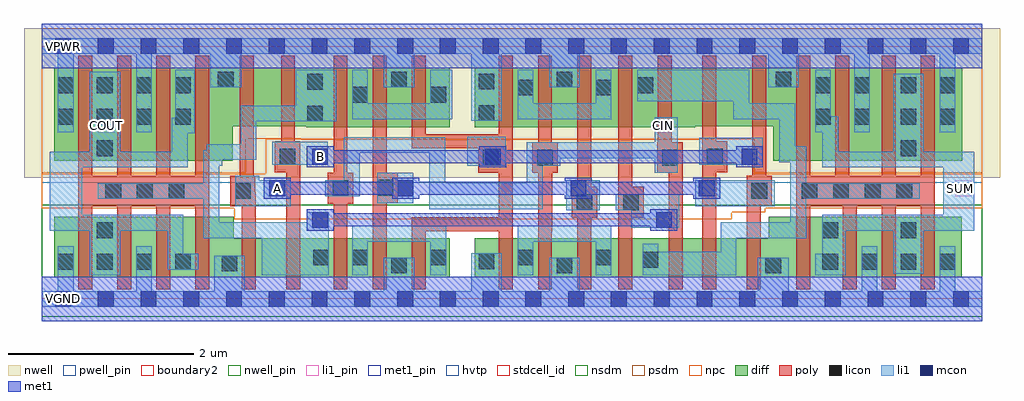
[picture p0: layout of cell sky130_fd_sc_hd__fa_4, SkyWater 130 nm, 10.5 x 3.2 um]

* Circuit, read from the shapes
.subckt sky130_fd_sc_hd__fa_4 A B CIN COUT SUM VGND VNB VPB VPWR
XM1 COUT n1 VGND VNB sky130_fd_pr__nfet_01v8 w=0.65 l=0.15 m=4
XM2 n2 A VGND VNB sky130_fd_pr__nfet_01v8 w=0.42 l=0.15
XM3 n1 B n2 VNB sky130_fd_pr__nfet_01v8 w=0.42 l=0.15
XM4 n3 CIN n1 VNB sky130_fd_pr__nfet_01v8 w=0.42 l=0.15
XM5 VGND A n3 VNB sky130_fd_pr__nfet_01v8 w=0.42 l=0.15
XM6 n3 B VGND VNB sky130_fd_pr__nfet_01v8 w=0.42 l=0.15
XM7 n4 B VGND VNB sky130_fd_pr__nfet_01v8 w=0.42 l=0.15
XM8 VGND CIN n4 VNB sky130_fd_pr__nfet_01v8 w=0.42 l=0.15
XM9 n4 A VGND VNB sky130_fd_pr__nfet_01v8 w=0.42 l=0.15
XM10 n5 n1 n4 VNB sky130_fd_pr__nfet_01v8 w=0.42 l=0.15
XM11 n6 CIN n5 VNB sky130_fd_pr__nfet_01v8 w=0.42 l=0.15
XM12 n7 B n6 VNB sky130_fd_pr__nfet_01v8 w=0.42 l=0.15
XM13 VGND A n7 VNB sky130_fd_pr__nfet_01v8 w=0.42 l=0.15
XM14 SUM n5 VGND VNB sky130_fd_pr__nfet_01v8 w=0.65 l=0.15 m=4
XM15 COUT n1 VPWR VPB sky130_fd_pr__pfet_01v8_hvt w=1 l=0.15 m=4
XM16 n8 A VPWR VPB sky130_fd_pr__pfet_01v8_hvt w=0.63 l=0.15
XM17 n1 B n8 VPB sky130_fd_pr__pfet_01v8_hvt w=0.63 l=0.15
XM18 n9 CIN n1 VPB sky130_fd_pr__pfet_01v8_hvt w=0.64 l=0.15
XM19 VPWR A n9 VPB sky130_fd_pr__pfet_01v8_hvt w=0.64 l=0.15
XM20 n9 B VPWR VPB sky130_fd_pr__pfet_01v8_hvt w=0.64 l=0.15
XM21 n10 B VPWR VPB sky130_fd_pr__pfet_01v8_hvt w=0.64 l=0.15
XM22 VPWR CIN n10 VPB sky130_fd_pr__pfet_01v8_hvt w=0.64 l=0.15
XM23 n10 A VPWR VPB sky130_fd_pr__pfet_01v8_hvt w=0.64 l=0.15
XM24 n5 n1 n10 VPB sky130_fd_pr__pfet_01v8_hvt w=0.64 l=0.15
XM25 n11 CIN n5 VPB sky130_fd_pr__pfet_01v8_hvt w=0.64 l=0.15
XM26 n12 B n11 VPB sky130_fd_pr__pfet_01v8_hvt w=0.63 l=0.15
XM27 VPWR A n12 VPB sky130_fd_pr__pfet_01v8_hvt w=0.63 l=0.15
XM28 SUM n5 VPWR VPB sky130_fd_pr__pfet_01v8_hvt w=1 l=0.15 m=4
.ends

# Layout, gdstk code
import gdstk
lib = gdstk.Library(unit=1e-6, precision=1e-09)
def R(c, l, rs):  # rectangles x0, y0, x1, y1
    for r in rs: c.add(gdstk.rectangle(r[:2], r[2:], *l))
def A(c, l, x, y, w, h, nx, ny, dx, dy):  # array of equal rectangles
    R(c, l, [(x+i*dx, y+j*dy, x+i*dx+w, y+j*dy+h) for i in range(nx) for j in range(ny)])
def P(c, l, *ps):  # polygons
    for p in ps: c.add(gdstk.Polygon(p, *l))
nwell_pin = (64, 16)
nwell = (64, 20)
diff = (65, 20)
poly = (66, 20)
licon = (66, 44)
li1_pin = (67, 16)
li1 = (67, 20)
mcon = (67, 44)
met1_pin = (68, 16)
met1 = (68, 20)
hvtp = (78, 44)
stdcell_id = (81, 4)
nsdm = (93, 44)
psdm = (94, 20)
npc = (95, 20)
pwell_pin = (122, 16)
boundary2 = (236, 0)

sky130_fd_sc_hd__fa_4 = lib.new_cell('sky130_fd_sc_hd__fa_4')
R(sky130_fd_sc_hd__fa_4, nwell_pin, [(0.15,2.635,0.32,2.805)])
R(sky130_fd_sc_hd__fa_4, nwell, [(-0.19,1.305,10.31,2.91)])
P(sky130_fd_sc_hd__fa_4, diff, [(4.39,2.485),(0.135,2.485),(0.135,1.485),(2.055,1.485),(2.055,1.855),(2.845,1.855),(2.845,1.845),(4.39,1.845)],
  [(4.39,0.655),(2.065,0.655),(2.065,0.885),(0.135,0.885),(0.135,0.235),(4.39,0.235)],
  [(9.9,0.885),(7.82,0.885),(7.82,0.655),(4.66,0.655),(4.66,0.235),(9.9,0.235)],
  [(9.905,2.485),(4.66,2.485),(4.66,1.845),(7.03,1.845),(7.03,1.855),(7.87,1.855),(7.87,1.485),(9.905,1.485)])
P(sky130_fd_sc_hd__fa_4, poly, [(1.805,2.615),(1.655,2.615),(1.655,1.325),(1.385,1.325),(1.385,2.615),(1.235,2.615),(1.235,1.325),(0.965,1.325),(0.965,2.615),(0.815,2.615),(0.815,1.325),(0.545,1.325),(0.545,2.615),(0.395,2.615),(0.395,0.105),(0.545,0.105),(0.545,0.995),(0.815,0.995),(0.815,0.105),(0.965,0.105),(0.965,0.995),(1.235,0.995),(1.235,0.105),(1.385,0.105),(1.385,0.995),(1.655,0.995),(1.655,0.105),(1.805,0.105)],
  [(2.305,1.145),(2.3,1.145),(2.3,1.325),(2.28,1.325),(2.28,2.615),(2.13,2.615),(2.13,1.325),(2.03,1.325),(2.03,0.995),(2.155,0.995),(2.155,0.105),(2.305,0.105)],
  [(2.78,1.695),(2.725,1.695),(2.725,2.615),(2.575,2.615),(2.575,1.695),(2.51,1.695),(2.51,1.365),(2.63,1.365),(2.63,0.105),(2.78,0.105)],
  [(3.35,1.355),(3.29,1.355),(3.29,2.615),(3.14,2.615),(3.14,1.355),(3.08,1.355),(3.08,1.025),(3.14,1.025),(3.14,0.105),(3.29,0.105),(3.29,1.025),(3.35,1.025)],
  [(3.83,1.36),(3.71,1.36),(3.71,2.615),(3.56,2.615),(3.56,0.105),(3.71,0.105),(3.71,1.03),(3.83,1.03)],
  [(5.07,2.615),(4.92,2.615),(4.92,1.77),(4.13,1.77),(4.13,2.615),(3.98,2.615),(3.98,1.62),(4.695,1.62),(4.695,1.355),(4.92,1.355),(4.92,0.88),(3.98,0.88),(3.98,0.105),(4.13,0.105),(4.13,0.73),(4.92,0.73),(4.92,0.105),(5.07,0.105)],
  [(5.55,1.685),(5.49,1.685),(5.49,2.615),(5.34,2.615),(5.34,1.685),(5.28,1.685),(5.28,1.355),(5.345,1.355),(5.345,0.88),(5.34,0.88),(5.34,0.105),(5.49,0.105),(5.49,0.73),(5.495,0.73),(5.495,1.355),(5.55,1.355)],
  [(5.975,1.205),(5.91,1.205),(5.91,2.615),(5.76,2.615),(5.76,1.205),(5.705,1.205),(5.705,0.875),(5.76,0.875),(5.76,0.105),(5.91,0.105),(5.91,0.875),(5.975,0.875)],
  [(6.475,1.205),(6.355,1.205),(6.355,2.615),(6.205,2.615),(6.205,0.105),(6.355,0.105),(6.355,0.875),(6.475,0.875)],
  [(6.895,1.685),(6.78,1.685),(6.78,2.615),(6.63,2.615),(6.63,1.685),(6.625,1.685),(6.625,1.355),(6.745,1.355),(6.745,0.105),(6.895,0.105)],
  [(7.375,1.695),(7.255,1.695),(7.255,2.615),(7.105,2.615),(7.105,0.105),(7.255,0.105),(7.255,1.365),(7.375,1.365)],
  [(7.855,1.325),(7.795,1.325),(7.795,2.615),(7.645,2.615),(7.645,1.325),(7.585,1.325),(7.585,0.105),(7.735,0.105),(7.735,0.995),(7.855,0.995)],
  [(9.61,2.615),(9.46,2.615),(9.46,1.325),(9.19,1.325),(9.19,2.615),(9.04,2.615),(9.04,1.325),(8.69,1.325),(8.69,2.615),(8.54,2.615),(8.54,1.325),(8.27,1.325),(8.27,2.615),(8.12,2.615),(8.12,0.105),(8.27,0.105),(8.27,0.995),(8.62,0.995),(8.62,0.105),(8.77,0.105),(8.77,0.995),(9.04,0.995),(9.04,0.105),(9.19,0.105),(9.19,0.995),(9.46,0.995),(9.46,0.105),(9.61,0.105)])
A(sky130_fd_sc_hd__fa_4, licon, 0.175, 0.315, 0.17, 0.17, 4, 2, 0.42, 1.56)
A(sky130_fd_sc_hd__fa_4, licon, 8.4, 0.315, 0.17, 0.17, 4, 1, 0.42, 0)
A(sky130_fd_sc_hd__fa_4, licon, 0.685, 1.075, 0.17, 0.17, 3, 1, 0.34, 0)
A(sky130_fd_sc_hd__fa_4, licon, 8.175, 1.075, 0.17, 0.17, 4, 1, 0.34, 0)
A(sky130_fd_sc_hd__fa_4, licon, 9.24, 1.535, 0.17, 0.17, 1, 3, 0, 0.34)
A(sky130_fd_sc_hd__fa_4, licon, 0.175, 2.215, 0.17, 0.17, 4, 1, 0.42, 0)
R(sky130_fd_sc_hd__fa_4, licon, [(3.76,0.275,3.93,0.445), (5.54,0.275,5.71,0.445), (7.785,0.275,7.955,0.445), (1.935,0.295,2.105,0.465), (4.7,0.32,4.87,0.49), (6.465,0.335,6.635,0.505), (2.92,0.36,3.09,0.53), (3.34,0.36,3.51,0.53), (4.18,0.36,4.35,0.53), (5.12,0.36,5.29,0.53), (5.96,0.36,6.13,0.53), (0.595,0.655,0.765,0.825), (8.4,0.655,8.57,0.825), (9.24,0.655,9.41,0.825), (5.755,0.955,5.925,1.125), (6.255,0.955,6.425,1.125), (2.08,1.075,2.25,1.245), (7.635,1.075,7.805,1.245), (3.13,1.105,3.3,1.275), (3.61,1.11,3.78,1.28), (4.745,1.435,4.915,1.605), (5.33,1.435,5.5,1.605), (6.675,1.435,6.845,1.605), (2.56,1.445,2.73,1.615), (7.155,1.445,7.325,1.615), (0.595,1.535,0.765,1.705), (8.32,1.875,8.49,2.045), (8.74,1.875,8.91,2.045), (9.66,1.875,9.83,2.045), (2.855,1.91,3.025,2.08), (4.7,1.915,4.87,2.085), (3.34,2.11,3.51,2.28), (4.18,2.11,4.35,2.28), (5.12,2.19,5.29,2.36), (5.96,2.19,6.13,2.36), (6.41,2.215,6.58,2.385), (8.32,2.215,8.49,2.385), (8.74,2.215,8.91,2.385), (9.66,2.215,9.83,2.385), (2.855,2.25,3.025,2.42), (4.7,2.255,4.87,2.425), (1.895,2.275,2.065,2.445), (3.76,2.275,3.93,2.445), (5.54,2.275,5.71,2.445), (7.895,2.275,8.065,2.445)])
R(sky130_fd_sc_hd__fa_4, li1_pin, [(0.15,-0.085,0.32,0.085), (2.45,1.105,2.62,1.275), (9.83,1.105,10,1.275), (2.91,1.445,3.08,1.615), (0.61,1.785,0.78,1.955), (6.61,1.785,6.78,1.955), (0.15,2.635,0.32,2.805)])
R(sky130_fd_sc_hd__fa_4, li1, [(5.645,0.955,6.005,1.275), (7.03,0.995,7.885,1.275), (3.61,1.03,4,1.36), (4.58,1.435,4.995,1.745), (2.48,1.445,3.08,1.69), (7.075,1.445,7.76,1.735)])
P(sky130_fd_sc_hd__fa_4, li1, [(1.685,0.485),(1.525,0.485),(1.525,0.905),(0.435,0.905),(0.435,1.415),(1.57,1.415),(1.57,1.78),(1.645,1.78),(1.645,2.465),(1.435,2.465),(1.435,1.95),(1.4,1.95),(1.4,1.585),(0.845,1.585),(0.845,2.445),(0.515,2.445),(0.515,1.585),(0.085,1.585),(0.085,0.735),(0.515,0.735),(0.515,0.255),(0.845,0.255),(0.845,0.735),(1.355,0.735),(1.355,0.315),(1.685,0.315)],
  [(2.68,1.275),(2.34,1.275),(2.34,1.325),(2.08,1.325),(2.08,0.995),(2.68,0.995)],
  [(3.17,2.465),(2.735,2.465),(2.735,2.08),(2.14,2.08),(2.14,1.665),(1.775,1.665),(1.775,1.6),(1.74,1.6),(1.74,1.245),(0.605,1.245),(0.605,1.075),(1.74,1.075),(1.74,0.655),(2.37,0.655),(2.37,0.255),(3.09,0.255),(3.09,0.935),(2.85,0.935),(2.85,0.825),(1.91,0.825),(1.91,1.43),(1.945,1.43),(1.945,1.495),(2.31,1.495),(2.31,1.91),(3.17,1.91)],
  [(4.35,0.785),(3.34,0.785),(3.34,0.255),(3.51,0.255),(3.51,0.615),(4.18,0.615),(4.18,0.255),(4.35,0.255)],
  [(4.415,2.465),(4.18,2.465),(4.18,2.105),(3.51,2.105),(3.51,2.465),(3.34,2.465),(3.34,1.935),(4.415,1.935)],
  [(10.12,0.085),(9.83,0.085),(9.83,0.565),(9.66,0.565),(9.66,0.085),(8.99,0.085),(8.99,0.565),(8.82,0.565),(8.82,0.085),(8.035,0.085),(8.035,0.445),(7.705,0.445),(7.705,0.085),(5.79,0.085),(5.79,0.445),(5.46,0.445),(5.46,0.085),(4.95,0.085),(4.95,0.49),(4.62,0.49),(4.62,0.085),(4.01,0.085),(4.01,0.445),(3.68,0.445),(3.68,0.085),(2.185,0.085),(2.185,0.465),(1.855,0.465),(1.855,0.085),(1.185,0.085),(1.185,0.565),(1.015,0.565),(1.015,0.085),(0.345,0.085),(0.345,0.565),(0.175,0.565),(0.175,0.085),(0,0.085),(0,-0.085),(10.12,-0.085)],
  [(10.12,2.805),(0,2.805),(0,2.635),(0.175,2.635),(0.175,1.795),(0.345,1.795),(0.345,2.635),(1.015,2.635),(1.015,1.795),(1.185,1.795),(1.185,2.635),(1.815,2.635),(1.815,2.275),(2.145,2.275),(2.145,2.635),(3.68,2.635),(3.68,2.275),(4.01,2.275),(4.01,2.635),(4.62,2.635),(4.62,1.915),(4.95,1.915),(4.95,2.635),(5.46,2.635),(5.46,2.275),(5.79,2.275),(5.79,2.635),(7.815,2.635),(7.815,2.275),(8.145,2.275),(8.145,2.635),(8.74,2.635),(8.74,1.795),(8.91,1.795),(8.91,2.635),(9.66,2.635),(9.66,1.795),(9.83,1.795),(9.83,2.635),(10.12,2.635)],
  [(6.13,2.465),(5.96,2.465),(5.96,2.105),(5.29,2.105),(5.29,2.465),(5.12,2.465),(5.12,1.935),(6.13,1.935)],
  [(6.13,0.785),(5.12,0.785),(5.12,0.255),(5.29,0.255),(5.29,0.615),(5.96,0.615),(5.96,0.255),(6.13,0.255)],
  [(6.845,1.955),(6.595,1.955),(6.595,1.685),(5.22,1.685),(5.22,1.25),(4.34,1.25),(4.34,1.74),(3.25,1.74),(3.25,1.275),(3.05,1.275),(3.05,1.105),(3.42,1.105),(3.42,1.57),(4.17,1.57),(4.17,0.965),(5.39,0.965),(5.39,1.435),(5.58,1.435),(5.58,1.515),(6.595,1.515),(6.595,1.355),(6.845,1.355)],
  [(6.86,1.125),(6.175,1.125),(6.175,0.955),(6.345,0.955),(6.345,0.765),(6.86,0.765)],
  [(9.445,1.245),(8.225,1.245),(8.225,1.64),(8.105,1.64),(8.105,2.105),(7.61,2.105),(7.61,2.465),(6.41,2.465),(6.41,2.125),(7.44,2.125),(7.44,1.935),(7.935,1.935),(7.935,1.47),(8.055,1.47),(8.055,0.825),(7.305,0.825),(7.305,0.505),(6.635,0.505),(6.635,0.595),(6.465,0.595),(6.465,0.255),(7.475,0.255),(7.475,0.655),(8.225,0.655),(8.225,1.075),(9.445,1.075)],
  [(10.035,1.585),(9.49,1.585),(9.49,2.425),(9.16,2.425),(9.16,1.585),(8.57,1.585),(8.57,1.965),(8.49,1.965),(8.49,2.465),(8.32,2.465),(8.32,1.795),(8.4,1.795),(8.4,1.415),(9.7,1.415),(9.7,0.905),(8.4,0.905),(8.4,0.485),(8.32,0.485),(8.32,0.255),(8.65,0.255),(8.65,0.735),(9.16,0.735),(9.16,0.27),(9.49,0.27),(9.49,0.735),(10.035,0.735)])
A(sky130_fd_sc_hd__fa_4, mcon, 0.145, -0.085, 0.17, 0.17, 22, 2, 0.46, 2.72)
R(sky130_fd_sc_hd__fa_4, mcon, [(2.91,0.765,3.08,0.935), (6.61,0.765,6.78,0.935), (2.45,1.105,2.62,1.275), (3.83,1.105,4,1.275), (5.69,1.105,5.86,1.275), (7.07,1.105,7.24,1.275), (2.91,1.445,3.08,1.615), (4.77,1.445,4.94,1.615), (7.53,1.445,7.7,1.615)])
R(sky130_fd_sc_hd__fa_4, met1_pin, [(0.15,-0.085,0.32,0.085), (0.15,2.635,0.32,2.805)])
P(sky130_fd_sc_hd__fa_4, met1, [(6.84,0.965),(6.55,0.965),(6.55,0.92),(3.14,0.92),(3.14,0.965),(2.85,0.965),(2.85,0.735),(3.14,0.735),(3.14,0.78),(6.55,0.78),(6.55,0.735),(6.84,0.735)],
  [(7.3,1.305),(7.01,1.305),(7.01,1.26),(5.92,1.26),(5.92,1.305),(5.63,1.305),(5.63,1.26),(4.06,1.26),(4.06,1.305),(3.77,1.305),(3.77,1.26),(2.68,1.26),(2.68,1.305),(2.39,1.305),(2.39,1.075),(2.68,1.075),(2.68,1.12),(3.77,1.12),(3.77,1.075),(4.06,1.075),(4.06,1.12),(5.63,1.12),(5.63,1.075),(5.92,1.075),(5.92,1.12),(7.01,1.12),(7.01,1.075),(7.3,1.075)],
  [(7.76,1.645),(7.47,1.645),(7.47,1.6),(5,1.6),(5,1.645),(4.71,1.645),(4.71,1.6),(3.14,1.6),(3.14,1.645),(2.85,1.645),(2.85,1.415),(3.14,1.415),(3.14,1.46),(4.71,1.46),(4.71,1.415),(5,1.415),(5,1.46),(7.47,1.46),(7.47,1.415),(7.76,1.415)])
R(sky130_fd_sc_hd__fa_4, hvtp, [(0,1.25,10.12,2.72)])
R(sky130_fd_sc_hd__fa_4, stdcell_id, [(0,0,10.12,2.72)])
R(sky130_fd_sc_hd__fa_4, nsdm, [(0,-0.19,10.12,1.015)])
P(sky130_fd_sc_hd__fa_4, psdm, [(10.12,2.91),(0,2.91),(0,1.355),(2.195,1.355),(2.195,1.725),(2.795,1.725),(2.795,1.715),(7.08,1.715),(7.08,1.725),(7.665,1.725),(7.665,1.355),(10.12,1.355)])
P(sky130_fd_sc_hd__fa_4, npc, [(10.12,1.345),(7.655,1.345),(7.655,1.725),(2.41,1.725),(2.41,1.345),(0,1.345),(0,0.975),(2.07,0.975),(2.07,0.855),(7.425,0.855),(7.425,0.935),(7.785,0.935),(7.785,0.975),(10.12,0.975)])
R(sky130_fd_sc_hd__fa_4, pwell_pin, [(0.15,-0.085,0.32,0.085)])
R(sky130_fd_sc_hd__fa_4, boundary2, [(0,0,10.12,2.72)])
sky130_fd_sc_hd__fa_4.add(gdstk.FlexPath([(0,2.72),(10.12,2.72)], 0.48, ends="flush", simple_path=True, layer=68, datatype=20))  # met1
sky130_fd_sc_hd__fa_4.add(gdstk.FlexPath([(0,0),(10.12,0)], 0.48, ends="flush", simple_path=True, layer=68, datatype=20))  # met1
sky130_fd_sc_hd__fa_4.add(gdstk.Label('COUT', (0.695,1.87), layer=67, texttype=5))
sky130_fd_sc_hd__fa_4.add(gdstk.Label('SUM', (9.89,1.19), layer=67, texttype=5))
sky130_fd_sc_hd__fa_4.add(gdstk.Label('A', (2.535,1.19), layer=67, texttype=5))
sky130_fd_sc_hd__fa_4.add(gdstk.Label('B', (2.995,1.53), layer=67, texttype=5))
sky130_fd_sc_hd__fa_4.add(gdstk.Label('CIN', (6.695,1.87), layer=67, texttype=5))
sky130_fd_sc_hd__fa_4.add(gdstk.Label('VGND', (0.23,0), layer=67, texttype=5))
sky130_fd_sc_hd__fa_4.add(gdstk.Label('VPWR', (0.23,2.72), layer=67, texttype=5))
sky130_fd_sc_hd__fa_4.add(gdstk.Label('VPB', (0.235,2.72), layer=64, texttype=5))
sky130_fd_sc_hd__fa_4.add(gdstk.Label('VNB', (0.235,0), layer=64, texttype=59))
sky130_fd_sc_hd__fa_4.add(gdstk.Label('VGND', (0.23,0), layer=68, texttype=5))
sky130_fd_sc_hd__fa_4.add(gdstk.Label('VPWR', (0.23,2.72), layer=68, texttype=5))
sky130_fd_sc_hd__fa_4.add(gdstk.Label('fa_4', (0,0), layer=83, texttype=44))

lib.write_gds('sky130_fd_sc_hd__fa_4.gds')
